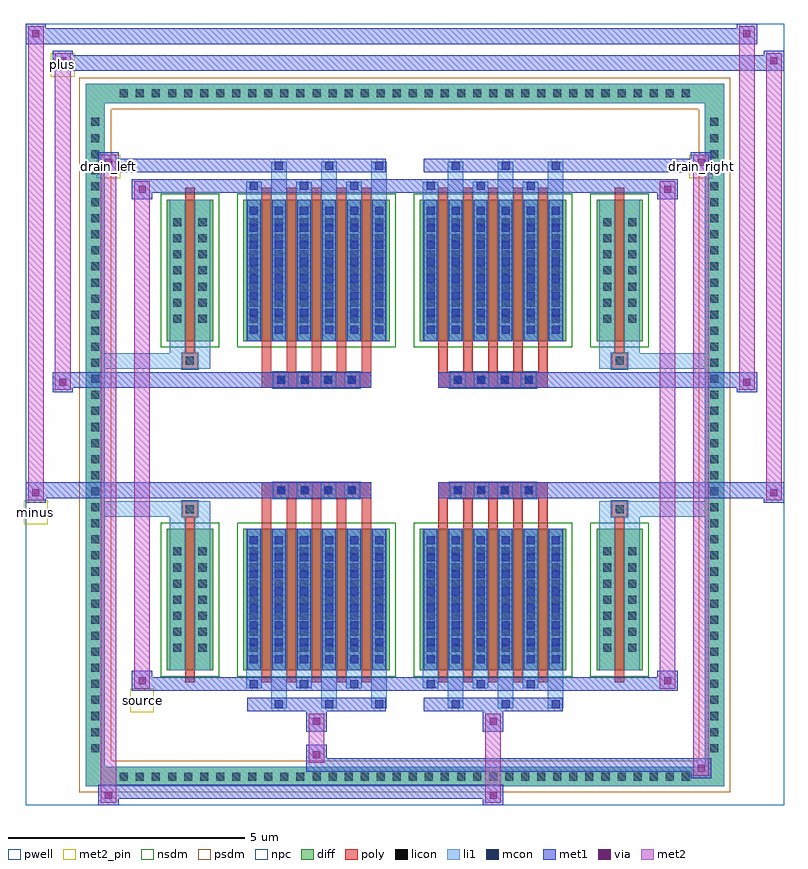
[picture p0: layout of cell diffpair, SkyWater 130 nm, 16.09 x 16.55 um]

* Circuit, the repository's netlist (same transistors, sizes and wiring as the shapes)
* NGSPICE file created from diffpair.ext - technology: sky130A

.subckt diffpair minus drain_right drain_left source plus
X0 drain_left plus source a_n1352_n1488# sky130_fd_pr__nfet_01v8 ad=0.495 pd=3.33 as=0.495 ps=3.33 w=3 l=0.2
X1 a_n1352_n1488# a_n1352_n1488# a_n1352_n1488# a_n1352_n1488# sky130_fd_pr__nfet_01v8 ad=1.17 pd=6.78 as=9.36 ps=54.24 w=3 l=0.2
X2 a_n1352_n1488# a_n1352_n1488# a_n1352_n1488# a_n1352_n1488# sky130_fd_pr__nfet_01v8 ad=1.17 pd=6.78 as=0 ps=0 w=3 l=0.2
X3 drain_right minus source a_n1352_n1488# sky130_fd_pr__nfet_01v8 ad=0.495 pd=3.33 as=0.495 ps=3.33 w=3 l=0.2
X4 source minus drain_right a_n1352_n1488# sky130_fd_pr__nfet_01v8 ad=0.495 pd=3.33 as=0.495 ps=3.33 w=3 l=0.2
X5 source plus drain_left a_n1352_n1488# sky130_fd_pr__nfet_01v8 ad=0.495 pd=3.33 as=0.495 ps=3.33 w=3 l=0.2
X6 drain_right minus source a_n1352_n1488# sky130_fd_pr__nfet_01v8 ad=1.17 pd=6.78 as=0.495 ps=3.33 w=3 l=0.2
X7 drain_left plus source a_n1352_n1488# sky130_fd_pr__nfet_01v8 ad=0.495 pd=3.33 as=1.17 ps=6.78 w=3 l=0.2
X8 source minus drain_right a_n1352_n1488# sky130_fd_pr__nfet_01v8 ad=0.495 pd=3.33 as=0.495 ps=3.33 w=3 l=0.2
X9 drain_right minus source a_n1352_n1488# sky130_fd_pr__nfet_01v8 ad=0.495 pd=3.33 as=1.17 ps=6.78 w=3 l=0.2
X10 drain_left plus source a_n1352_n1488# sky130_fd_pr__nfet_01v8 ad=1.17 pd=6.78 as=0.495 ps=3.33 w=3 l=0.2
X11 source minus drain_right a_n1352_n1488# sky130_fd_pr__nfet_01v8 ad=0.495 pd=3.33 as=0.495 ps=3.33 w=3 l=0.2
X12 source plus drain_left a_n1352_n1488# sky130_fd_pr__nfet_01v8 ad=0.495 pd=3.33 as=0.495 ps=3.33 w=3 l=0.2
X13 source plus drain_left a_n1352_n1488# sky130_fd_pr__nfet_01v8 ad=0.495 pd=3.33 as=0.495 ps=3.33 w=3 l=0.2
X14 a_n1352_n1488# a_n1352_n1488# a_n1352_n1488# a_n1352_n1488# sky130_fd_pr__nfet_01v8 ad=1.17 pd=6.78 as=0 ps=0 w=3 l=0.2
X15 drain_right minus source a_n1352_n1488# sky130_fd_pr__nfet_01v8 ad=0.495 pd=3.33 as=1.17 ps=6.78 w=3 l=0.2
X16 drain_right minus source a_n1352_n1488# sky130_fd_pr__nfet_01v8 ad=1.17 pd=6.78 as=0.495 ps=3.33 w=3 l=0.2
X17 drain_left plus source a_n1352_n1488# sky130_fd_pr__nfet_01v8 ad=1.17 pd=6.78 as=0.495 ps=3.33 w=3 l=0.2
X18 drain_left plus source a_n1352_n1488# sky130_fd_pr__nfet_01v8 ad=0.495 pd=3.33 as=1.17 ps=6.78 w=3 l=0.2
X19 source plus drain_left a_n1352_n1488# sky130_fd_pr__nfet_01v8 ad=0.495 pd=3.33 as=0.495 ps=3.33 w=3 l=0.2
X20 source minus drain_right a_n1352_n1488# sky130_fd_pr__nfet_01v8 ad=0.495 pd=3.33 as=0.495 ps=3.33 w=3 l=0.2
X21 a_n1352_n1488# a_n1352_n1488# a_n1352_n1488# a_n1352_n1488# sky130_fd_pr__nfet_01v8 ad=1.17 pd=6.78 as=0 ps=0 w=3 l=0.2
X22 drain_left plus source a_n1352_n1488# sky130_fd_pr__nfet_01v8 ad=0.495 pd=3.33 as=0.495 ps=3.33 w=3 l=0.2
X23 drain_right minus source a_n1352_n1488# sky130_fd_pr__nfet_01v8 ad=0.495 pd=3.33 as=0.495 ps=3.33 w=3 l=0.2
.ends

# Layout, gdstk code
import gdstk
lib = gdstk.Library(unit=1e-6, precision=5e-09)
def R(c, l, rs):  # rectangles x0, y0, x1, y1
    for r in rs: c.add(gdstk.rectangle(r[:2], r[2:], *l))
def A(c, l, x, y, w, h, nx, ny, dx, dy):  # array of equal rectangles
    R(c, l, [(x+i*dx, y+j*dy, x+i*dx+w, y+j*dy+h) for i in range(nx) for j in range(ny)])
def P(c, l, *ps):  # polygons
    for p in ps: c.add(gdstk.Polygon(p, *l))
pwell = (64, 44)
diff = (65, 20)
poly = (66, 20)
licon = (66, 44)
li1 = (67, 20)
mcon = (67, 44)
met1 = (68, 20)
via = (68, 44)
met2_pin = (69, 16)
met2 = (69, 20)
nsdm = (93, 44)
psdm = (94, 20)
npc = (95, 20)

diffpair = lib.new_cell('diffpair')
R(diffpair, pwell, [(-8.03,-7.84,8.03,8.71), (-5.35,-6.03,-0.01,-0.805), (0.01,-6.03,5.35,-0.805), (-5.35,0.805,-0.01,6.03), (0.01,0.805,5.35,6.03)])
A(diffpair, diff, -6.155, -7.44, 0.41, 0.41, 36, 2, 0.34, 14.47)
A(diffpair, diff, -6.76, -6.835, 0.41, 0.41, 1, 40, 0, 0.34)
A(diffpair, diff, 6.35, -6.835, 0.41, 0.41, 1, 40, 0, 0.34)
R(diffpair, diff, [(-6.155,-7.44,6.155,-7.03), (-6.76,-6.835,-6.35,6.835), (6.35,-6.835,6.76,6.835), (-5.04,-4.985,-4.06,-1.985), (-3.42,-4.985,-0.32,-1.985), (0.32,-4.985,3.42,-1.985), (4.06,-4.985,5.04,-1.985), (-5.04,1.985,-4.06,4.985), (-3.42,1.985,-0.32,4.985), (0.32,1.985,3.42,4.985), (4.06,1.985,5.04,4.985), (-6.155,7.03,6.155,7.44)])
P(diffpair, diff, [(6.76,7.44),(-6.76,7.44),(-6.76,-7.03),(-6.35,-7.03),(-6.35,7.03),(6.35,7.03),(6.35,-7.03),(-6.35,-7.03),(-6.76,-7.03),(-6.76,-7.44),(6.76,-7.44)])
A(diffpair, poly, -3.03, -5.235, 0.2, 3.5, 5, 2, 0.53, 6.97)
A(diffpair, poly, 0.71, -5.235, 0.2, 3.5, 5, 2, 0.53, 6.97)
A(diffpair, poly, -3.03, -1.735, 0.2, 0.4, 5, 2, 0.53, 3.07)
A(diffpair, poly, 0.71, -1.735, 0.2, 0.4, 5, 2, 0.53, 3.07)
A(diffpair, poly, -2.785, -1.335, 0.33, 0.33, 4, 2, 0.5, 2.34)
A(diffpair, poly, 0.955, -1.335, 0.33, 0.33, 4, 2, 0.5, 2.34)
R(diffpair, poly, [(-4.65,-5.235,-4.45,-1.735), (4.45,-5.235,4.65,-1.735), (-4.715,-1.735,-4.385,-1.405), (-4.715,-1.735,-4.385,-1.405), (4.385,-1.735,4.715,-1.405), (4.385,-1.735,4.715,-1.405), (-3.03,-1.335,-0.71,-1.005), (0.71,-1.335,3.03,-1.005), (-3.03,1.005,-0.71,1.335), (0.71,1.005,3.03,1.335), (-4.715,1.405,-4.385,1.735), (-4.715,1.405,-4.385,1.735), (4.385,1.405,4.715,1.735), (4.385,1.405,4.715,1.735), (-4.65,1.735,-4.45,5.235), (4.45,1.735,4.65,5.235)])
A(diffpair, licon, -6.035, -7.32, 0.17, 0.17, 36, 2, 0.34, 14.47)
A(diffpair, licon, -6.64, -6.715, 0.17, 0.17, 1, 40, 0, 0.34)
A(diffpair, licon, 6.47, -6.715, 0.17, 0.17, 1, 40, 0, 0.34)
A(diffpair, licon, -4.9, -4.59, 0.17, 0.17, 1, 7, 0, 0.34)
A(diffpair, licon, -4.37, -4.59, 0.17, 0.17, 1, 7, 0, 0.34)
A(diffpair, licon, -3.28, -4.59, 0.17, 0.17, 6, 7, 0.53, 0.34)
A(diffpair, licon, 0.46, -4.59, 0.17, 0.17, 6, 7, 0.53, 0.34)
A(diffpair, licon, 4.2, -4.59, 0.17, 0.17, 1, 7, 0, 0.34)
A(diffpair, licon, 4.73, -4.59, 0.17, 0.17, 1, 7, 0, 0.34)
A(diffpair, licon, -2.705, -1.255, 0.17, 0.17, 4, 2, 0.5, 2.34)
A(diffpair, licon, 1.035, -1.255, 0.17, 0.17, 4, 2, 0.5, 2.34)
A(diffpair, licon, -4.9, 2.38, 0.17, 0.17, 1, 7, 0, 0.34)
A(diffpair, licon, -4.37, 2.38, 0.17, 0.17, 1, 7, 0, 0.34)
A(diffpair, licon, -3.28, 2.38, 0.17, 0.17, 6, 7, 0.53, 0.34)
A(diffpair, licon, 0.46, 2.38, 0.17, 0.17, 6, 7, 0.53, 0.34)
A(diffpair, licon, 4.2, 2.38, 0.17, 0.17, 1, 7, 0, 0.34)
A(diffpair, licon, 4.73, 2.38, 0.17, 0.17, 1, 7, 0, 0.34)
R(diffpair, licon, [(-4.635,-1.655,-4.465,-1.485), (4.465,-1.655,4.635,-1.485), (-4.635,1.485,-4.465,1.655), (4.465,1.485,4.635,1.655)])
A(diffpair, li1, -6.115, -7.4, 0.33, 0.33, 36, 2, 0.34, 14.47)
A(diffpair, li1, -6.72, -6.795, 0.33, 0.33, 1, 40, 0, 0.34)
A(diffpair, li1, 6.39, -6.795, 0.33, 0.33, 1, 40, 0, 0.34)
A(diffpair, li1, -2.83, -5.79, 0.33, 0.805, 3, 2, 1.06, 10.775)
A(diffpair, li1, -2.75, -5.79, 0.17, 0.17, 3, 2, 1.06, 11.41)
A(diffpair, li1, 0.91, -5.79, 0.33, 0.805, 3, 2, 1.06, 10.775)
A(diffpair, li1, 0.99, -5.79, 0.17, 0.17, 3, 2, 1.06, 11.41)
A(diffpair, li1, -3.36, -5.36, 0.33, 0.375, 3, 2, 1.06, 10.345)
A(diffpair, li1, -3.28, -5.36, 0.17, 0.17, 3, 2, 1.06, 10.55)
A(diffpair, li1, 0.38, -5.36, 0.33, 0.375, 3, 2, 1.06, 10.345)
A(diffpair, li1, 0.46, -5.36, 0.17, 0.17, 3, 2, 1.06, 10.55)
A(diffpair, li1, -3.36, -4.985, 0.33, 3, 6, 2, 0.53, 6.97)
A(diffpair, li1, 0.38, -4.985, 0.33, 3, 6, 2, 0.53, 6.97)
A(diffpair, li1, -3.28, -4.83, 0.17, 0.17, 6, 8, 0.53, 0.36)
A(diffpair, li1, -3.28, -4.83, 0.17, 2.69, 6, 2, 0.53, 6.97)
A(diffpair, li1, 0.46, -4.83, 0.17, 0.17, 6, 8, 0.53, 0.36)
A(diffpair, li1, 0.46, -4.83, 0.17, 2.69, 6, 2, 0.53, 6.97)
A(diffpair, li1, -4.98, -4.67, 0.33, 0.33, 1, 7, 0, 0.34)
A(diffpair, li1, -4.45, -4.67, 0.33, 0.33, 1, 7, 0, 0.34)
A(diffpair, li1, -3.36, -4.67, 0.33, 0.33, 6, 7, 0.53, 0.34)
A(diffpair, li1, 0.38, -4.67, 0.33, 0.33, 6, 7, 0.53, 0.34)
A(diffpair, li1, 4.12, -4.67, 0.33, 0.33, 1, 7, 0, 0.34)
A(diffpair, li1, 4.65, -4.67, 0.33, 0.33, 1, 7, 0, 0.34)
A(diffpair, li1, -2.785, -1.335, 0.33, 0.33, 4, 2, 0.5, 2.34)
A(diffpair, li1, 0.955, -1.335, 0.33, 0.33, 4, 2, 0.5, 2.34)
A(diffpair, li1, -3.28, 2.14, 0.17, 0.17, 6, 8, 0.53, 0.36)
A(diffpair, li1, 0.46, 2.14, 0.17, 0.17, 6, 8, 0.53, 0.36)
A(diffpair, li1, -4.98, 2.3, 0.33, 0.33, 1, 7, 0, 0.34)
A(diffpair, li1, -4.45, 2.3, 0.33, 0.33, 1, 7, 0, 0.34)
A(diffpair, li1, -3.36, 2.3, 0.33, 0.33, 6, 7, 0.53, 0.34)
A(diffpair, li1, 0.38, 2.3, 0.33, 0.33, 6, 7, 0.53, 0.34)
A(diffpair, li1, 4.12, 2.3, 0.33, 0.33, 1, 7, 0, 0.34)
A(diffpair, li1, 4.65, 2.3, 0.33, 0.33, 1, 7, 0, 0.34)
R(diffpair, li1, [(-6.76,-7.44,-6.35,-7.03), (-6.76,-7.44,-6.35,-7.03), (-6.35,-7.44,6.35,-7.03), (6.35,-7.44,6.76,-7.03), (6.35,-7.44,6.76,-7.03), (-6.76,-7.03,-6.35,7.03), (6.35,-7.03,6.76,7.03), (-4.98,-4.985,-4.65,-1.985), (-4.45,-4.985,-4.12,-1.985), (4.12,-4.985,4.45,-1.985), (4.65,-4.985,4.98,-1.985), (-4.98,-1.985,-4.65,-1.405), (-4.45,-1.985,-4.12,-1.405), (4.12,-1.985,4.45,-1.405), (4.65,-1.985,4.98,-1.405), (-6.76,-1.735,-4.715,-1.405), (-4.98,-1.735,-4.715,-1.405), (-4.715,-1.735,-4.385,-1.405), (-4.385,-1.735,-4.12,-1.405), (4.12,-1.735,4.385,-1.405), (4.385,-1.735,4.715,-1.405), (4.385,-1.735,6.76,-1.405), (4.715,-1.735,4.98,-1.405), (-6.76,1.405,-4.715,1.735), (-4.98,1.405,-4.715,1.735), (-4.98,1.405,-4.65,1.985), (-4.715,1.405,-4.385,1.735), (-4.45,1.405,-4.12,1.985), (-4.385,1.405,-4.12,1.735), (4.12,1.405,4.385,1.735), (4.12,1.405,4.45,1.985), (4.385,1.405,4.715,1.735), (4.385,1.405,6.76,1.735), (4.65,1.405,4.98,1.985), (4.715,1.405,4.98,1.735), (-4.98,1.985,-4.65,4.985), (-4.45,1.985,-4.12,4.985), (4.12,1.985,4.45,4.985), (4.65,1.985,4.98,4.985), (-6.76,7.03,-6.35,7.44), (-6.76,7.03,-6.35,7.44), (-6.35,7.03,6.35,7.44), (6.35,7.03,6.76,7.44), (6.35,7.03,6.76,7.44)])
A(diffpair, mcon, -2.75, -5.79, 0.17, 0.17, 3, 2, 1.06, 11.41)
A(diffpair, mcon, 0.99, -5.79, 0.17, 0.17, 3, 2, 1.06, 11.41)
A(diffpair, mcon, -3.28, -5.36, 0.17, 0.17, 3, 2, 1.06, 10.55)
A(diffpair, mcon, 0.46, -5.36, 0.17, 0.17, 3, 2, 1.06, 10.55)
A(diffpair, mcon, -3.28, -4.83, 0.17, 0.17, 6, 8, 0.53, 0.36)
A(diffpair, mcon, 0.46, -4.83, 0.17, 0.17, 6, 8, 0.53, 0.36)
A(diffpair, mcon, -2.705, -1.255, 0.17, 0.17, 4, 2, 0.5, 2.34)
A(diffpair, mcon, 1.035, -1.255, 0.17, 0.17, 4, 2, 0.5, 2.34)
A(diffpair, mcon, -3.28, 2.14, 0.17, 0.17, 6, 8, 0.53, 0.36)
A(diffpair, mcon, 0.46, 2.14, 0.17, 0.17, 6, 8, 0.53, 0.36)
A(diffpair, met1, -2.81, -5.85, 0.29, 0.29, 3, 2, 1.06, 11.41)
A(diffpair, met1, 0.93, -5.85, 0.29, 0.29, 3, 2, 1.06, 11.41)
A(diffpair, met1, -3.34, -5.42, 0.29, 0.29, 3, 2, 1.06, 10.55)
A(diffpair, met1, 0.4, -5.42, 0.29, 0.29, 3, 2, 1.06, 10.55)
A(diffpair, met1, -3.34, -4.985, 0.29, 3, 6, 2, 0.53, 6.97)
A(diffpair, met1, 0.4, -4.985, 0.29, 3, 6, 2, 0.53, 6.97)
A(diffpair, met1, -3.34, -4.89, 0.29, 0.29, 6, 8, 0.53, 0.36)
A(diffpair, met1, 0.4, -4.89, 0.29, 0.29, 6, 8, 0.53, 0.36)
A(diffpair, met1, -2.765, -1.315, 0.29, 0.29, 4, 2, 0.5, 2.34)
A(diffpair, met1, 0.975, -1.315, 0.29, 0.29, 4, 2, 0.5, 2.34)
A(diffpair, met1, -3.34, 2.08, 0.29, 0.29, 6, 8, 0.53, 0.36)
A(diffpair, met1, 0.4, 2.08, 0.29, 0.29, 6, 8, 0.53, 0.36)
R(diffpair, met1, [(-6.49,-7.84,-6.06,-7.41), (1.655,-7.84,2.085,-7.41), (-6.49,-7.7,2.085,-7.41), (6.06,-7.27,6.49,-6.84), (-2.085,-7.13,6.49,-6.84), (-2.085,-6.99,-1.655,-6.56), (-2.085,-6.28,-1.655,-5.85), (1.655,-6.28,2.085,-5.85), (-3.34,-5.85,-0.4,-5.56), (0.4,-5.85,3.34,-5.56), (-5.78,-5.42,-5.35,-4.99), (-5.78,-5.42,-3.34,-5.13), (-3.34,-5.42,-0.4,-5.13), (-0.4,-5.42,0.4,-5.13), (0.4,-5.42,3.34,-5.13), (3.34,-5.42,5.78,-5.13), (5.35,-5.42,5.78,-4.99), (-8.03,-1.435,-7.6,-1.005), (7.6,-1.435,8.03,-1.005), (-8.03,-1.335,-0.71,-1.005), (-3.03,-1.335,-0.71,-1.005), (0.71,-1.335,3.03,-1.005), (0.71,-1.335,8.03,-1.005), (-7.46,0.905,-7.03,1.335), (7.03,0.905,7.46,1.335), (-7.46,1.005,-3.03,1.335), (-3.03,1.005,-0.71,1.335), (0.71,1.005,3.03,1.335), (3.03,1.005,7.46,1.335), (-5.78,4.99,-5.35,5.42), (5.35,4.99,5.78,5.42), (-5.78,5.13,-3.34,5.42), (-3.34,5.13,-0.4,5.42), (-0.4,5.13,0.4,5.42), (0.4,5.13,3.34,5.42), (3.34,5.13,5.78,5.42), (-6.49,5.56,-6.06,5.99), (-6.49,5.56,-3.34,5.85), (-3.34,5.56,-0.4,5.85), (0.4,5.56,3.34,5.85), (3.34,5.56,6.49,5.85), (6.06,5.56,6.49,5.99), (-7.46,7.71,-7.03,8.14), (-7.46,7.71,-5.35,8.04), (-5.35,7.71,5.35,8.04), (5.35,7.71,8.03,8.04), (7.6,7.71,8.03,8.14), (-8.03,8.28,-7.6,8.71), (-8.03,8.28,-5.35,8.61), (-5.35,8.28,5.35,8.61), (5.35,8.28,7.46,8.61), (7.03,8.28,7.46,8.71)])
R(diffpair, via, [(-6.35,-7.7,-6.2,-7.55), (1.795,-7.7,1.945,-7.55), (6.2,-7.13,6.35,-6.98), (-1.945,-6.85,-1.795,-6.7), (-1.945,-6.14,-1.795,-5.99), (1.795,-6.14,1.945,-5.99), (-5.64,-5.28,-5.49,-5.13), (5.49,-5.28,5.64,-5.13), (-7.89,-1.295,-7.74,-1.145), (7.74,-1.295,7.89,-1.145), (-7.32,1.045,-7.17,1.195), (7.17,1.045,7.32,1.195), (-5.64,5.13,-5.49,5.28), (5.49,5.13,5.64,5.28), (-6.35,5.7,-6.2,5.85), (6.2,5.7,6.35,5.85), (-7.32,7.85,-7.17,8), (7.74,7.85,7.89,8), (-7.89,8.42,-7.74,8.57), (7.17,8.42,7.32,8.57)])
R(diffpair, met2_pin, [(-5.815,-5.87,-5.315,-5.37), (-8.065,-1.885,-7.565,-1.385), (-6.525,5.44,-6.025,5.94), (6.025,5.44,6.525,5.94), (-7.495,7.59,-6.995,8.09)])
R(diffpair, met2, [(-6.44,-7.79,-6.11,-7.46), (-6.44,-7.79,-6.11,5.94), (1.705,-7.79,2.035,-7.46), (1.705,-7.46,2.035,-6.23), (6.11,-7.22,6.44,-6.89), (6.11,-7.22,6.44,5.94), (-2.035,-6.94,-1.705,-6.61), (-2.035,-6.61,-1.705,-6.23), (-2.035,-6.23,-1.705,-5.9), (1.705,-6.23,2.035,-5.9), (-5.73,-5.37,-5.4,-5.04), (-5.73,-5.37,-5.4,5.37), (5.4,-5.37,5.73,-5.04), (5.4,-5.37,5.73,5.37), (-7.98,-1.385,-7.65,-1.055), (-7.98,-1.385,-7.65,8.66), (7.65,-1.385,7.98,-1.055), (7.65,-1.385,7.98,8.09), (-7.41,0.955,-7.08,1.285), (-7.41,0.955,-7.08,8.09), (7.08,0.955,7.41,1.285), (7.08,0.955,7.41,8.66), (-5.73,5.04,-5.4,5.37), (5.4,5.04,5.73,5.37), (-6.44,5.61,-6.11,5.94), (6.11,5.61,6.44,5.94), (-7.41,7.76,-7.08,8.09), (7.65,7.76,7.98,8.09), (-7.98,8.33,-7.65,8.66), (7.08,8.33,7.41,8.66)])
P(diffpair, met2, [(7.98,-1.385),(7.98,-1.385),(7.98,-1.055),(7.98,-1.055)],
  [(7.98,7.76),(7.98,7.76),(7.98,8.09),(7.98,8.09)],
  [(-7.65,-1.385),(-7.65,-1.385),(-7.65,-1.055),(-7.65,-1.055)],
  [(-7.65,8.33),(-7.65,8.33),(-7.65,8.66),(-7.65,8.66)],
  [(7.41,0.955),(7.41,0.955),(7.41,1.285),(7.41,1.285)],
  [(7.41,8.33),(7.41,8.33),(7.41,8.66),(7.41,8.66)],
  [(-7.08,0.955),(-7.08,0.955),(-7.08,1.285),(-7.08,1.285)],
  [(-7.08,7.76),(-7.08,7.76),(-7.08,8.09),(-7.08,8.09)],
  [(-6.11,-7.79),(-6.11,-7.79),(-6.11,-7.46),(-6.11,-7.46)],
  [(-6.11,5.61),(-6.11,5.61),(-6.11,5.94),(-6.11,5.94)],
  [(6.44,-7.22),(6.44,-7.22),(6.44,-6.89),(6.44,-6.89)],
  [(6.44,5.61),(6.44,5.61),(6.44,5.94),(6.44,5.94)],
  [(-5.4,-5.37),(-5.4,-5.37),(-5.4,-5.04),(-5.4,-5.04)],
  [(-5.4,5.04),(-5.4,5.04),(-5.4,5.37),(-5.4,5.37)],
  [(5.73,-5.37),(5.73,-5.37),(5.73,-5.04),(5.73,-5.04)],
  [(5.73,5.04),(5.73,5.04),(5.73,5.37),(5.73,5.37)])
R(diffpair, nsdm, [(-5.17,-5.115,-3.93,-1.855), (-3.55,-5.115,-0.19,-1.855), (0.19,-5.115,3.55,-1.855), (3.93,-5.115,5.17,-1.855), (-5.17,1.855,-3.93,5.115), (-3.55,1.855,-0.19,5.115), (0.19,1.855,3.55,5.115), (3.93,1.855,5.17,5.115)])
P(diffpair, psdm, [(6.89,7.57),(-6.89,7.57),(-6.89,-6.9),(-6.22,-6.9),(-6.22,6.9),(6.22,6.9),(6.22,-6.9),(-6.22,-6.9),(-6.89,-6.9),(-6.89,-7.57),(6.89,-7.57)])
A(diffpair, npc, -2.805, -1.355, 0.37, 0.37, 4, 2, 0.5, 2.34)
A(diffpair, npc, 0.935, -1.355, 0.37, 0.37, 4, 2, 0.5, 2.34)
R(diffpair, npc, [(-4.735,-1.755,-4.365,-1.385), (4.365,-1.755,4.735,-1.385), (-2.805,-1.355,-1.935,-0.985), (-2.805,-1.355,-1.935,-0.985), (-2.305,-1.355,-1.435,-0.985), (-2.305,-1.355,-1.435,-0.985), (-1.805,-1.355,-0.935,-0.985), (-1.805,-1.355,-0.935,-0.985), (0.935,-1.355,1.805,-0.985), (0.935,-1.355,1.805,-0.985), (1.435,-1.355,2.305,-0.985), (1.435,-1.355,2.305,-0.985), (1.935,-1.355,2.805,-0.985), (1.935,-1.355,2.805,-0.985), (-2.805,0.985,-1.935,1.355), (-2.805,0.985,-1.935,1.355), (-2.305,0.985,-1.435,1.355), (-2.305,0.985,-1.435,1.355), (-1.805,0.985,-0.935,1.355), (-1.805,0.985,-0.935,1.355), (0.935,0.985,1.805,1.355), (0.935,0.985,1.805,1.355), (1.435,0.985,2.305,1.355), (1.435,0.985,2.305,1.355), (1.935,0.985,2.805,1.355), (1.935,0.985,2.805,1.355), (-4.735,1.385,-4.365,1.755), (4.365,1.385,4.735,1.755)])
diffpair.add(gdstk.Label('minus', (-7.815,-1.635), layer=69, texttype=5))
diffpair.add(gdstk.Label('drain_right', (6.275,5.69), layer=69, texttype=5))
diffpair.add(gdstk.Label('drain_left', (-6.275,5.69), layer=69, texttype=5))
diffpair.add(gdstk.Label('source', (-5.565,-5.62), layer=69, texttype=5))
diffpair.add(gdstk.Label('plus', (-7.245,7.84), layer=69, texttype=5))

lib.write_gds('diffpair.gds')
